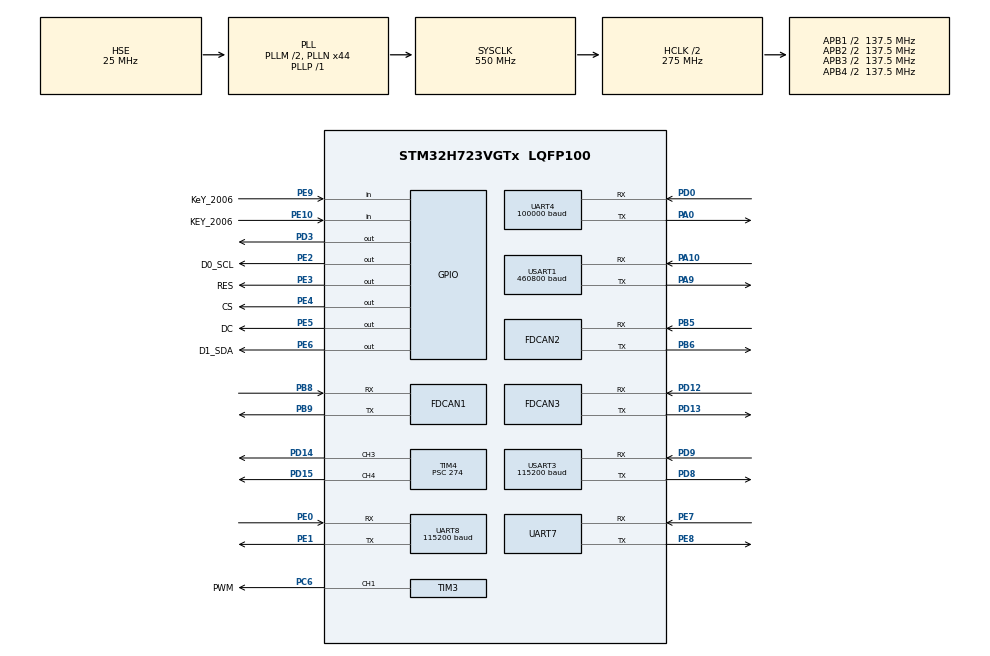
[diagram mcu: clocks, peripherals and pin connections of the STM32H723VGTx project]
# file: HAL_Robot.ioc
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Dma.Request0=USART1_RX
Dma.Request1=USART1_TX
Dma.Request10=USART3_TX
Dma.Request2=TIM3_CH1
Dma.Request3=UART4_RX
Dma.Request4=UART4_TX
Dma.Request5=UART7_RX
Dma.Request6=UART7_TX
Dma.Request7=UART8_RX
Dma.Request8=UART8_TX
Dma.Request9=USART3_RX
Dma.TIM3_CH1.2.Direction=DMA_MEMORY_TO_PERIPH
Dma.TIM3_CH1.2.EventEnable=DISABLE
Dma.TIM3_CH1.2.FIFOMode=DMA_FIFOMODE_DISABLE
Dma.TIM3_CH1.2.Instance=DMA1_Stream6
Dma.TIM3_CH1.2.MemDataAlignment=DMA_MDATAALIGN_HALFWORD
Dma.TIM3_CH1.2.MemInc=DMA_MINC_ENABLE
Dma.TIM3_CH1.2.Mode=DMA_NORMAL
Dma.TIM3_CH1.2.PeriphDataAlignment=DMA_PDATAALIGN_HALFWORD
Dma.TIM3_CH1.2.PeriphInc=DMA_PINC_DISABLE
Dma.TIM3_CH1.2.Polarity=HAL_DMAMUX_REQ_GEN_RISING
Dma.TIM3_CH1.2.Priority=DMA_PRIORITY_VERY_HIGH
Dma.TIM3_CH1.2.RequestNumber=1
Dma.TIM3_CH1.2.SignalID=NONE
Dma.TIM3_CH1.2.SyncEnable=DISABLE
Dma.TIM3_CH1.2.SyncPolarity=HAL_DMAMUX_SYNC_NO_EVENT
Dma.TIM3_CH1.2.SyncRequestNumber=1
Dma.TIM3_CH1.2.SyncSignalID=NONE
Dma.UART4_RX.3.Direction=DMA_PERIPH_TO_MEMORY
Dma.UART4_RX.3.EventEnable=DISABLE
Dma.UART4_RX.3.FIFOMode=DMA_FIFOMODE_DISABLE
Dma.UART4_RX.3.Instance=DMA1_Stream2
Dma.UART4_RX.3.MemDataAlignment=DMA_MDATAALIGN_BYTE
Dma.UART4_RX.3.MemInc=DMA_MINC_ENABLE
Dma.UART4_RX.3.Mode=DMA_CIRCULAR
Dma.UART4_RX.3.PeriphDataAlignment=DMA_PDATAALIGN_BYTE
Dma.UART4_RX.3.PeriphInc=DMA_PINC_DISABLE
Dma.UART4_RX.3.Polarity=HAL_DMAMUX_REQ_GEN_RISING
Dma.UART4_RX.3.Priority=DMA_PRIORITY_VERY_HIGH
Dma.UART4_RX.3.RequestNumber=1
Dma.UART4_RX.3.SignalID=NONE
Dma.UART4_RX.3.SyncEnable=DISABLE
Dma.UART4_RX.3.SyncPolarity=HAL_DMAMUX_SYNC_NO_EVENT
Dma.UART4_RX.3.SyncRequestNumber=1
Dma.UART4_RX.3.SyncSignalID=NONE
Dma.UART4_TX.4.Direction=DMA_MEMORY_TO_PERIPH
Dma.UART4_TX.4.EventEnable=DISABLE
Dma.UART4_TX.4.FIFOMode=DMA_FIFOMODE_DISABLE
Dma.UART4_TX.4.Instance=DMA1_Stream3
Dma.UART4_TX.4.MemDataAlignment=DMA_MDATAALIGN_BYTE
Dma.UART4_TX.4.MemInc=DMA_MINC_ENABLE
Dma.UART4_TX.4.Mode=DMA_NORMAL
Dma.UART4_TX.4.PeriphDataAlignment=DMA_PDATAALIGN_BYTE
Dma.UART4_TX.4.PeriphInc=DMA_PINC_DISABLE
Dma.UART4_TX.4.Polarity=HAL_DMAMUX_REQ_GEN_RISING
Dma.UART4_TX.4.Priority=DMA_PRIORITY_VERY_HIGH
Dma.UART4_TX.4.RequestNumber=1
Dma.UART4_TX.4.SignalID=NONE
Dma.UART4_TX.4.SyncEnable=DISABLE
Dma.UART4_TX.4.SyncPolarity=HAL_DMAMUX_SYNC_NO_EVENT
Dma.UART4_TX.4.SyncRequestNumber=1
Dma.UART4_TX.4.SyncSignalID=NONE
Dma.UART7_RX.5.Direction=DMA_PERIPH_TO_MEMORY
Dma.UART7_RX.5.EventEnable=DISABLE
Dma.UART7_RX.5.FIFOMode=DMA_FIFOMODE_DISABLE
Dma.UART7_RX.5.Instance=DMA1_Stream4
Dma.UART7_RX.5.MemDataAlignment=DMA_MDATAALIGN_BYTE
Dma.UART7_RX.5.MemInc=DMA_MINC_ENABLE
Dma.UART7_RX.5.Mode=DMA_CIRCULAR
Dma.UART7_RX.5.PeriphDataAlignment=DMA_PDATAALIGN_BYTE
Dma.UART7_RX.5.PeriphInc=DMA_PINC_DISABLE
Dma.UART7_RX.5.Polarity=HAL_DMAMUX_REQ_GEN_RISING
Dma.UART7_RX.5.Priority=DMA_PRIORITY_VERY_HIGH
Dma.UART7_RX.5.RequestNumber=1
Dma.UART7_RX.5.SignalID=NONE
Dma.UART7_RX.5.SyncEnable=DISABLE
Dma.UART7_RX.5.SyncPolarity=HAL_DMAMUX_SYNC_NO_EVENT
Dma.UART7_RX.5.SyncRequestNumber=1
Dma.UART7_RX.5.SyncSignalID=NONE
Dma.UART7_TX.6.Direction=DMA_MEMORY_TO_PERIPH
Dma.UART7_TX.6.EventEnable=DISABLE
Dma.UART7_TX.6.FIFOMode=DMA_FIFOMODE_DISABLE
Dma.UART7_TX.6.Instance=DMA1_Stream5
Dma.UART7_TX.6.MemDataAlignment=DMA_MDATAALIGN_BYTE
Dma.UART7_TX.6.MemInc=DMA_MINC_ENABLE
Dma.UART7_TX.6.Mode=DMA_NORMAL
Dma.UART7_TX.6.PeriphDataAlignment=DMA_PDATAALIGN_BYTE
Dma.UART7_TX.6.PeriphInc=DMA_PINC_DISABLE
Dma.UART7_TX.6.Polarity=HAL_DMAMUX_REQ_GEN_RISING
Dma.UART7_TX.6.Priority=DMA_PRIORITY_VERY_HIGH
Dma.UART7_TX.6.RequestNumber=1
Dma.UART7_TX.6.SignalID=NONE
Dma.UART7_TX.6.SyncEnable=DISABLE
Dma.UART7_TX.6.SyncPolarity=HAL_DMAMUX_SYNC_NO_EVENT
Dma.UART7_TX.6.SyncRequestNumber=1
Dma.UART7_TX.6.SyncSignalID=NONE
Dma.UART8_RX.7.Direction=DMA_PERIPH_TO_MEMORY
Dma.UART8_RX.7.EventEnable=DISABLE
Dma.UART8_RX.7.FIFOMode=DMA_FIFOMODE_DISABLE
Dma.UART8_RX.7.Instance=DMA1_Stream7
Dma.UART8_RX.7.MemDataAlignment=DMA_MDATAALIGN_BYTE
Dma.UART8_RX.7.MemInc=DMA_MINC_ENABLE
Dma.UART8_RX.7.Mode=DMA_CIRCULAR
Dma.UART8_RX.7.PeriphDataAlignment=DMA_PDATAALIGN_BYTE
Dma.UART8_RX.7.PeriphInc=DMA_PINC_DISABLE
Dma.UART8_RX.7.Polarity=HAL_DMAMUX_REQ_GEN_RISING
Dma.UART8_RX.7.Priority=DMA_PRIORITY_VERY_HIGH
Dma.UART8_RX.7.RequestNumber=1
Dma.UART8_RX.7.SignalID=NONE
Dma.UART8_RX.7.SyncEnable=DISABLE
Dma.UART8_RX.7.SyncPolarity=HAL_DMAMUX_SYNC_NO_EVENT
Dma.UART8_RX.7.SyncRequestNumber=1
Dma.UART8_RX.7.SyncSignalID=NONE
Dma.UART8_TX.8.Direction=DMA_MEMORY_TO_PERIPH
Dma.UART8_TX.8.EventEnable=DISABLE
Dma.UART8_TX.8.FIFOMode=DMA_FIFOMODE_DISABLE
Dma.UART8_TX.8.Instance=DMA2_Stream0
Dma.UART8_TX.8.MemDataAlignment=DMA_MDATAALIGN_BYTE
Dma.UART8_TX.8.MemInc=DMA_MINC_ENABLE
Dma.UART8_TX.8.Mode=DMA_NORMAL
Dma.UART8_TX.8.PeriphDataAlignment=DMA_PDATAALIGN_BYTE
Dma.UART8_TX.8.PeriphInc=DMA_PINC_DISABLE
Dma.UART8_TX.8.Polarity=HAL_DMAMUX_REQ_GEN_RISING
Dma.UART8_TX.8.Priority=DMA_PRIORITY_VERY_HIGH
Dma.UART8_TX.8.RequestNumber=1
Dma.UART8_TX.8.SignalID=NONE
Dma.UART8_TX.8.SyncEnable=DISABLE
Dma.UART8_TX.8.SyncPolarity=HAL_DMAMUX_SYNC_NO_EVENT
Dma.UART8_TX.8.SyncRequestNumber=1
Dma.UART8_TX.8.SyncSignalID=NONE
Dma.USART1_RX.0.Direction=DMA_PERIPH_TO_MEMORY
Dma.USART1_RX.0.EventEnable=DISABLE
Dma.USART1_RX.0.FIFOMode=DMA_FIFOMODE_DISABLE
Dma.USART1_RX.0.Instance=DMA1_Stream0
Dma.USART1_RX.0.MemDataAlignment=DMA_MDATAALIGN_BYTE
Dma.USART1_RX.0.MemInc=DMA_MINC_ENABLE
Dma.USART1_RX.0.Mode=DMA_CIRCULAR
Dma.USART1_RX.0.PeriphDataAlignment=DMA_PDATAALIGN_BYTE
Dma.USART1_RX.0.PeriphInc=DMA_PINC_DISABLE
Dma.USART1_RX.0.Polarity=HAL_DMAMUX_REQ_GEN_RISING
Dma.USART1_RX.0.Priority=DMA_PRIORITY_VERY_HIGH
Dma.USART1_RX.0.RequestNumber=1
Dma.USART1_RX.0.SignalID=NONE
Dma.USART1_RX.0.SyncEnable=DISABLE
Dma.USART1_RX.0.SyncPolarity=HAL_DMAMUX_SYNC_NO_EVENT
Dma.USART1_RX.0.SyncRequestNumber=1
Dma.USART1_RX.0.SyncSignalID=NONE
Dma.USART1_TX.1.Direction=DMA_MEMORY_TO_PERIPH
Dma.USART1_TX.1.EventEnable=DISABLE
Dma.USART1_TX.1.FIFOMode=DMA_FIFOMODE_DISABLE
Dma.USART1_TX.1.Instance=DMA1_Stream1
Dma.USART1_TX.1.MemDataAlignment=DMA_MDATAALIGN_BYTE
Dma.USART1_TX.1.MemInc=DMA_MINC_ENABLE
Dma.USART1_TX.1.Mode=DMA_NORMAL
Dma.USART1_TX.1.PeriphDataAlignment=DMA_PDATAALIGN_BYTE
Dma.USART1_TX.1.PeriphInc=DMA_PINC_DISABLE
Dma.USART1_TX.1.Polarity=HAL_DMAMUX_REQ_GEN_RISING
Dma.USART1_TX.1.Priority=DMA_PRIORITY_VERY_HIGH
Dma.USART1_TX.1.RequestNumber=1
Dma.USART1_TX.1.SignalID=NONE
Dma.USART1_TX.1.SyncEnable=DISABLE
Dma.USART1_TX.1.SyncPolarity=HAL_DMAMUX_SYNC_NO_EVENT
Dma.USART1_TX.1.SyncRequestNumber=1
Dma.USART1_TX.1.SyncSignalID=NONE
Dma.USART3_RX.9.Direction=DMA_PERIPH_TO_MEMORY
Dma.USART3_RX.9.EventEnable=DISABLE
Dma.USART3_RX.9.FIFOMode=DMA_FIFOMODE_DISABLE
Dma.USART3_RX.9.Instance=DMA2_Stream1
Dma.USART3_RX.9.MemDataAlignment=DMA_MDATAALIGN_BYTE
Dma.USART3_RX.9.MemInc=DMA_MINC_ENABLE
Dma.USART3_RX.9.Mode=DMA_CIRCULAR
Dma.USART3_RX.9.PeriphDataAlignment=DMA_PDATAALIGN_BYTE
Dma.USART3_RX.9.PeriphInc=DMA_PINC_DISABLE
Dma.USART3_RX.9.Polarity=HAL_DMAMUX_REQ_GEN_RISING
Dma.USART3_RX.9.Priority=DMA_PRIORITY_VERY_HIGH
Dma.USART3_RX.9.RequestNumber=1
Dma.USART3_RX.9.SignalID=NONE
Dma.USART3_RX.9.SyncEnable=DISABLE
Dma.USART3_RX.9.SyncPolarity=HAL_DMAMUX_SYNC_NO_EVENT
Dma.USART3_RX.9.SyncRequestNumber=1
Dma.USART3_RX.9.SyncSignalID=NONE
Dma.USART3_TX.10.Direction=DMA_MEMORY_TO_PERIPH
Dma.USART3_TX.10.EventEnable=DISABLE
Dma.USART3_TX.10.FIFOMode=DMA_FIFOMODE_DISABLE
Dma.USART3_TX.10.Instance=DMA2_Stream2
Dma.USART3_TX.10.MemDataAlignment=DMA_MDATAALIGN_BYTE
Dma.USART3_TX.10.MemInc=DMA_MINC_ENABLE
Dma.USART3_TX.10.Mode=DMA_NORMAL
Dma.USART3_TX.10.PeriphDataAlignment=DMA_PDATAALIGN_BYTE
Dma.USART3_TX.10.PeriphInc=DMA_PINC_DISABLE
Dma.USART3_TX.10.Polarity=HAL_DMAMUX_REQ_GEN_RISING
Dma.USART3_TX.10.Priority=DMA_PRIORITY_VERY_HIGH
Dma.USART3_TX.10.RequestNumber=1
Dma.USART3_TX.10.SignalID=NONE
Dma.USART3_TX.10.SyncEnable=DISABLE
Dma.USART3_TX.10.SyncPolarity=HAL_DMAMUX_SYNC_NO_EVENT
Dma.USART3_TX.10.SyncRequestNumber=1
Dma.USART3_TX.10.SyncSignalID=NONE
FDCAN1.CalculateBaudRateNominal=1000000
FDCAN1.CalculateTimeBitNominal=1000
FDCAN1.CalculateTimeQuantumNominal=100.0
FDCAN1.NominalPrescaler=10
FDCAN1.NominalTimeSeg1=7
FDCAN1.NominalTimeSeg2=2
FDCAN1.RxFifo0ElmtsNbr=16
FDCAN1.TxFifoQueueElmtsNbr=8
FDCAN2.CalculateBaudRateNominal=1000000
FDCAN2.CalculateTimeBitNominal=1000
FDCAN2.CalculateTimeQuantumNominal=100.0
FDCAN2.MessageRAMOffset=820
FDCAN2.NominalPrescaler=10
FDCAN2.NominalTimeSeg1=7
FDCAN2.NominalTimeSeg2=2
FDCAN2.RxFifo0ElmtsNbr=16
FDCAN2.TxFifoQueueElmtsNbr=8
FDCAN3.CalculateBaudRateNominal=1000000
FDCAN3.CalculateTimeBitNominal=1000
FDCAN3.CalculateTimeQuantumNominal=100.0
FDCAN3.MessageRAMOffset=1706
FDCAN3.NominalPrescaler=10
FDCAN3.NominalTimeSeg1=7
FDCAN3.NominalTimeSeg2=2
FDCAN3.RxFifo0ElmtsNbr=16
FDCAN3.TxFifoQueueElmtsNbr=8
FREERTOS.Tasks01=defaultTask,24,128,StartDefaultTask,Default,NULL,Dynamic,NULL,NULL;RTOSsystem_task,10,128,RTOSsystem_Task,As external,NULL,Dynamic,NULL,NULL;Gimbal_task256,13,256,Gimbal_Task,As external,NULL,Dynamic,NULL,NULL;Guard_task,14,256,Guard_Task,As external,NULL,Dynamic,NULL,NULL;Correspond_task,12,256,Correspond_Task,As external,NULL,Dynamic,NULL,NULL;Message_task,13,512,Message_Task,As external,NULL,Dynamic,NULL,NULL;CAN1_Rx_task,15,128,CAN1_Rx_Task,As external,NULL,Dynamic,NULL,NULL;CAN2_Rx_task,15,128,CAN2_Rx_Task,As external,NULL,Dynamic,NULL,NULL;Serial_Rx_task,15,128,Serial_Rx_Task,As external,NULL,Dynamic,NULL,NULL;DR16_Rx_task,15,128,DR16_Rx_Task,As external,NULL,Dynamic,NULL,NULL;CAN3_Rx_task,15,128,CAN3_Rx_Task,As external,NULL,Dynamic,NULL,NULL;Chassis_task,13,256,Chassis_Task,As external,NULL,Dynamic,NULL,NULL;UIDraw_task,11,512,UIDraw_Task,As external,NULL,Dynamic,NULL,NULL;Referee_Rx_task,15,128,Referee_Rx_Task,As external,NULL,Dynamic,NULL,NULL
Mcu.Family=STM32H7
Mcu.Name=STM32H723VGTx
Mcu.Package=LQFP100
NVIC.DMA1_Stream0_IRQn=true\:5\:0\:false\:false\:true\:false\:false\:true\:true
NVIC.DMA1_Stream1_IRQn=true\:5\:0\:false\:false\:true\:false\:false\:true\:true
NVIC.DMA1_Stream2_IRQn=true\:5\:0\:false\:false\:true\:true\:false\:true\:true
NVIC.DMA1_Stream3_IRQn=true\:5\:0\:false\:false\:true\:true\:false\:true\:true
NVIC.DMA1_Stream4_IRQn=true\:5\:0\:false\:false\:true\:true\:false\:true\:true
NVIC.DMA1_Stream5_IRQn=true\:5\:0\:false\:false\:true\:true\:false\:true\:true
NVIC.DMA1_Stream6_IRQn=true\:5\:0\:false\:false\:true\:true\:false\:true\:true
NVIC.DMA1_Stream7_IRQn=true\:5\:0\:false\:false\:true\:true\:false\:true\:true
NVIC.DMA2_Stream0_IRQn=true\:5\:0\:false\:false\:true\:true\:false\:true\:true
NVIC.DMA2_Stream1_IRQn=true\:5\:0\:false\:false\:true\:true\:false\:true\:true
NVIC.DMA2_Stream2_IRQn=true\:5\:0\:false\:false\:true\:true\:false\:true\:true
NVIC.FDCAN1_IT0_IRQn=true\:5\:0\:false\:false\:true\:true\:true\:true\:true
NVIC.FDCAN2_IT0_IRQn=true\:5\:0\:false\:false\:true\:true\:true\:true\:true
NVIC.FDCAN3_IT0_IRQn=true\:5\:0\:false\:false\:true\:true\:true\:true\:true
NVIC.PriorityGroup=NVIC_PRIORITYGROUP_4
NVIC.TIM1_UP_IRQn=true\:15\:0\:false\:false\:true\:false\:false\:true\:true
NVIC.TimeBase=TIM1_UP_IRQn
NVIC.TimeBaseIP=TIM1
NVIC.UART4_IRQn=true\:5\:0\:false\:false\:true\:true\:true\:true\:true
NVIC.UART7_IRQn=true\:5\:0\:true\:false\:true\:true\:true\:true\:true
NVIC.UART8_IRQn=true\:6\:0\:true\:false\:true\:true\:true\:true\:true
NVIC.USART1_IRQn=true\:9\:0\:true\:false\:true\:true\:true\:true\:true
NVIC.USART3_IRQn=true\:5\:0\:true\:false\:true\:true\:true\:true\:true
PA0.GPIO_Speed=GPIO_SPEED_FREQ_VERY_HIGH
PA0.Mode=Asynchronous
PA0.Signal=UART4_TX
PA10.GPIO_Speed=GPIO_SPEED_FREQ_VERY_HIGH
PA10.Mode=Asynchronous
PA10.Signal=USART1_RX
PA13(JTMS/SWDIO).Mode=Serial_Wire
PA13(JTMS/SWDIO).Signal=DEBUG_JTMS-SWDIO
PA14(JTCK/SWCLK).Mode=Serial_Wire
PA14(JTCK/SWCLK).Signal=DEBUG_JTCK-SWCLK
PA9.GPIO_Speed=GPIO_SPEED_FREQ_VERY_HIGH
PA9.Mode=Asynchronous
PA9.Signal=USART1_TX
PB5.GPIO_Speed=GPIO_SPEED_FREQ_VERY_HIGH
PB5.Mode=FDCAN_Activate
PB5.Signal=FDCAN2_RX
PB6.GPIO_Speed=GPIO_SPEED_FREQ_VERY_HIGH
PB6.Mode=FDCAN_Activate
PB6.Signal=FDCAN2_TX
PB8.GPIO_Speed=GPIO_SPEED_FREQ_VERY_HIGH
PB8.Mode=FDCAN_Activate
PB8.Signal=FDCAN1_RX
PB9.GPIO_Speed=GPIO_SPEED_FREQ_VERY_HIGH
PB9.Mode=FDCAN_Activate
PB9.Signal=FDCAN1_TX
PC6.GPIO_Label=PWM
PC6.GPIO_PuPd=GPIO_PULLUP
PC6.GPIO_Speed=GPIO_SPEED_FREQ_VERY_HIGH
PC6.Signal=S_TIM3_CH1
PC7.Signal=S_TIM3_CH2
PD0.GPIO_Speed=GPIO_SPEED_FREQ_VERY_HIGH
PD0.Mode=Asynchronous
PD0.Signal=UART4_RX
PD12.GPIO_Speed=GPIO_SPEED_FREQ_VERY_HIGH
PD12.Mode=FDCAN_Activate
PD12.Signal=FDCAN3_RX
PD13.GPIO_Speed=GPIO_SPEED_FREQ_VERY_HIGH
PD13.Mode=FDCAN_Activate
PD13.Signal=FDCAN3_TX
PD14.GPIO_ModeDefaultPP=GPIO_MODE_AF_PP
PD14.GPIO_PuPd=GPIO_NOPULL
PD14.GPIO_Speed=GPIO_SPEED_FREQ_HIGH
PD14.Signal=S_TIM4_CH3
PD15.Signal=S_TIM4_CH4
PD3.Signal=GPIO_Output
PD8.GPIO_Speed=GPIO_SPEED_FREQ_VERY_HIGH
PD8.Mode=Asynchronous
PD8.Signal=USART3_TX
PD9.GPIO_Speed=GPIO_SPEED_FREQ_VERY_HIGH
PD9.Mode=Asynchronous
PD9.Signal=USART3_RX
PE0.GPIO_Speed=GPIO_SPEED_FREQ_VERY_HIGH
PE0.Mode=Asynchronous
PE0.Signal=UART8_RX
PE1.GPIO_Speed=GPIO_SPEED_FREQ_VERY_HIGH
PE1.Mode=Asynchronous
PE1.Signal=UART8_TX
PE10.GPIO_Label=KEY_2006
PE10.GPIO_PuPd=GPIO_PULLUP
PE10.Signal=GPIO_Input
PE2.GPIO_Label=D0_SCL
PE2.Signal=GPIO_Output
PE3.GPIO_Label=RES
PE3.Signal=GPIO_Output
PE4.GPIO_Label=CS
PE4.Signal=GPIO_Output
PE5.GPIO_Label=DC
PE5.Signal=GPIO_Output
PE6.GPIO_Label=D1_SDA
PE6.Signal=GPIO_Output
PE7.GPIO_Speed=GPIO_SPEED_FREQ_VERY_HIGH
PE7.Mode=Asynchronous
PE7.Signal=UART7_RX
PE8.GPIO_Speed=GPIO_SPEED_FREQ_VERY_HIGH
PE8.Mode=Asynchronous
PE8.Signal=UART7_TX
PE9.GPIO_Label=KeY_2006
PE9.GPIO_PuPd=GPIO_PULLUP
PE9.Signal=GPIO_Input
PH0-OSC_IN.Mode=HSE-External-Oscillator
PH0-OSC_IN.Signal=RCC_OSC_IN
PH1-OSC_OUT.Mode=HSE-External-Oscillator
PH1-OSC_OUT.Signal=RCC_OSC_OUT
ProjectManager.HeapSize=0x1000
ProjectManager.StackSize=0x400
ProjectManager.TargetToolchain=MDK-ARM V5.32
RCC.ADCFreq_Value=150000000
RCC.APB1Freq_Value=137500000
RCC.APB2Freq_Value=137500000
RCC.APB3Freq_Value=137500000
RCC.APB4Freq_Value=137500000
RCC.CortexFreq_Value=550000000
RCC.D1PPRE=RCC_APB3_DIV2
RCC.D2PPRE1=RCC_APB1_DIV2
RCC.D2PPRE2=RCC_APB2_DIV2
RCC.D3PPRE=RCC_APB4_DIV2
RCC.DIVM1=2
RCC.DIVM2=5
RCC.DIVN1=44
RCC.DIVN2=60
RCC.DIVP1=1
RCC.DIVQ2=3
RCC.FDCANCLockSelection=RCC_FDCANCLKSOURCE_PLL2
RCC.HCLKFreq_Value=275000000
RCC.HPRE=RCC_HCLK_DIV2
RCC.HSE_VALUE=25000000
RCC.PLL2FRACN=0
RCC.PLL3FRACN=0
RCC.PLLFRACN=0
RCC.PLLSourceVirtual=RCC_PLLSOURCE_HSE
RCC.SYSCLKFreq_VALUE=550000000
RCC.SYSCLKSource=RCC_SYSCLKSOURCE_PLLCLK
RCC.USBFreq_Value=275000000
SH.S_TIM3_CH1.0=TIM3_CH1,PWM Generation1 CH1
SH.S_TIM3_CH2.0=TIM3_CH2
SH.S_TIM4_CH3.0=TIM4_CH3,PWM Generation3 CH3
SH.S_TIM4_CH4.0=TIM4_CH4,PWM Generation4 CH4
TIM2.Period=209
TIM2.Prescaler=0
TIM3.Channel-PWM\ Generation1\ CH1=TIM_CHANNEL_1
TIM3.Period=343
TIM3.Prescaler=0
TIM4.Channel-PWM\ Generation3\ CH3=TIM_CHANNEL_3
TIM4.Channel-PWM\ Generation4\ CH4=TIM_CHANNEL_4
TIM4.Period=20000-1
TIM4.Prescaler=274
UART4.BaudRate=100000
UART8.BaudRate=115200
USART1.BaudRate=460800
USART1.VirtualMode-Asynchronous=VM_ASYNC
USART3.BaudRate=115200
USART3.VirtualMode-Asynchronous=VM_ASYNC
VP_FREERTOS_VS_CMSIS_V2.Mode=CMSIS_V2
VP_SYS_VS_tim1.Mode=TIM1
VP_TIM2_VS_ClockSourceINT.Mode=Internal
VP_TIM3_VS_ClockSourceINT.Mode=Internal
VP_TIM4_VS_ClockSourceINT.Mode=Internal
board=custom

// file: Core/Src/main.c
/* USER CODE BEGIN Header */
/**
 ******************************************************************************
 * @file           : main.c
 * @brief          : Main program body
 ******************************************************************************
 * @attention
 *
 * Copyright (c) 2023 STMicroelectronics.
 * All rights reserved.
 *
 * This software is licensed under terms that can be found in the LICENSE file
 * in the root directory of this software component.
 * If no LICENSE file comes with this software, it is provided AS-IS.
 *
 ******************************************************************************
 */
/* USER CODE END Header */
#include "main.h"
#include "cmsis_os.h"
#include "dma.h"
#include "fdcan.h"
#include "tim.h"
#include "usart.h"
#include "gpio.h"

/* USER CODE BEGIN Includes */
#include "protocol_dbus.h"
#include "drivers_dma.h"
#include "bsp_dwt.h"
/* USER CODE END Includes */

/* USER CODE BEGIN PV */
extern void HAL_GPIO_EXTI_Callback(uint16_t GPIO_Pin);
/* USER CODE END PV */

void SystemClock_Config(void);
void PeriphCommonClock_Config(void);
void MX_FREERTOS_Init(void);
/* USER CODE BEGIN PFP */
extern void My_Ui_Init(void);
/* USER CODE END PFP */

/* USER CODE BEGIN 0 */

void SoftWareInit(void)
{
	HAL_TIM_PWM_Start(&htim4,TIM_CHANNEL_3); //PWM
	HAL_TIM_PWM_Start(&htim4,TIM_CHANNEL_4); //PWM

	HAL_GPIO_WritePin(GPIOD,GPIO_PIN_3,GPIO_PIN_SET);

}

/* USER CODE END 0 */

int main(void)
{

  /* MCU Configuration--------------------------------------------------------*/

  /* Reset of all peripherals, Initializes the Flash interface and the Systick. */
  HAL_Init();

  /* Configure the system clock */
  SystemClock_Config();

  /* Configure the peripherals common clocks */

  PeriphCommonClock_Config();

  /* Initialize all configured peripherals */
  MX_GPIO_Init();
  MX_DMA_Init();
  MX_USART1_UART_Init();
  MX_UART4_Init();
  MX_TIM2_Init();
  MX_FDCAN1_Init();
  MX_FDCAN2_Init();
  MX_FDCAN3_Init();
  MX_TIM3_Init();
  MX_UART7_Init();
  MX_UART8_Init();
  MX_USART3_UART_Init();
  MX_TIM4_Init();
  /* USER CODE BEGIN 2 */
	My_Ui_Init();

  SoftWareInit();
	DWT_Init(550);
  /* USER CODE END 2 */

  /* Init scheduler */
  osKernelInitialize();

  /* Call init function for freertos objects (in cmsis_os2.c) */
  MX_FREERTOS_Init();

  /* Start scheduler */
  osKernelStart();

  /* We should never get here as control is now taken by the scheduler */

  /* Infinite loop */
  while (1)
  {

  }
}

void SystemClock_Config(void)
{
  RCC_OscInitTypeDef RCC_OscInitStruct = {0};
  RCC_ClkInitTypeDef RCC_ClkInitStruct = {0};

  /** Supply configuration update enable
  */
  HAL_PWREx_ConfigSupply(PWR_LDO_SUPPLY);

  /** Configure the main internal regulator output voltage
  */
  __HAL_PWR_VOLTAGESCALING_CONFIG(PWR_REGULATOR_VOLTAGE_SCALE0);

  while(!__HAL_PWR_GET_FLAG(PWR_FLAG_VOSRDY)) {}

  /** Initializes the RCC Oscillators according to the specified parameters
  * in the RCC_OscInitTypeDef structure.
  */
  RCC_OscInitStruct.OscillatorType = RCC_OSCILLATORTYPE_HSE;
  RCC_OscInitStruct.HSEState = RCC_HSE_ON;
  RCC_OscInitStruct.PLL.PLLState = RCC_PLL_ON;
  RCC_OscInitStruct.PLL.PLLSource = RCC_PLLSOURCE_HSE;
  RCC_OscInitStruct.PLL.PLLM = 2;
  RCC_OscInitStruct.PLL.PLLN = 44;
  RCC_OscInitStruct.PLL.PLLP = 1;
  RCC_OscInitStruct.PLL.PLLQ = 2;
  RCC_OscInitStruct.PLL.PLLR = 2;
  RCC_OscInitStruct.PLL.PLLRGE = RCC_PLL1VCIRANGE_3;
  RCC_OscInitStruct.PLL.PLLVCOSEL = RCC_PLL1VCOWIDE;
  RCC_OscInitStruct.PLL.PLLFRACN = 0;
  if (HAL_RCC_OscConfig(&RCC_OscInitStruct) != HAL_OK)
  {
    Error_Handler();
  }

  /** Initializes the CPU, AHB and APB buses clocks
  */
  RCC_ClkInitStruct.ClockType = RCC_CLOCKTYPE_HCLK|RCC_CLOCKTYPE_SYSCLK
                              |RCC_CLOCKTYPE_PCLK1|RCC_CLOCKTYPE_PCLK2
                              |RCC_CLOCKTYPE_D3PCLK1|RCC_CLOCKTYPE_D1PCLK1;
  RCC_ClkInitStruct.SYSCLKSource = RCC_SYSCLKSOURCE_PLLCLK;
  RCC_ClkInitStruct.SYSCLKDivider = RCC_SYSCLK_DIV1;
  RCC_ClkInitStruct.AHBCLKDivider = RCC_HCLK_DIV2;
  RCC_ClkInitStruct.APB3CLKDivider = RCC_APB3_DIV2;
  RCC_ClkInitStruct.APB1CLKDivider = RCC_APB1_DIV2;
  RCC_ClkInitStruct.APB2CLKDivider = RCC_APB2_DIV2;
  RCC_ClkInitStruct.APB4CLKDivider = RCC_APB4_DIV2;

  if (HAL_RCC_ClockConfig(&RCC_ClkInitStruct, FLASH_LATENCY_3) != HAL_OK)
  {
    Error_Handler();
  }
}

void PeriphCommonClock_Config(void)
{
  RCC_PeriphCLKInitTypeDef PeriphClkInitStruct = {0};

  /** Initializes the peripherals clock
  */
  PeriphClkInitStruct.PeriphClockSelection = RCC_PERIPHCLK_FDCAN;
  PeriphClkInitStruct.PLL2.PLL2M = 5;
  PeriphClkInitStruct.PLL2.PLL2N = 60;
  PeriphClkInitStruct.PLL2.PLL2P = 2;
  PeriphClkInitStruct.PLL2.PLL2Q = 3;
  PeriphClkInitStruct.PLL2.PLL2R = 2;
  PeriphClkInitStruct.PLL2.PLL2RGE = RCC_PLL2VCIRANGE_2;
  PeriphClkInitStruct.PLL2.PLL2VCOSEL = RCC_PLL2VCOWIDE;
  PeriphClkInitStruct.PLL2.PLL2FRACN = 0;
  PeriphClkInitStruct.FdcanClockSelection = RCC_FDCANCLKSOURCE_PLL2;
  if (HAL_RCCEx_PeriphCLKConfig(&PeriphClkInitStruct) != HAL_OK)
  {
    Error_Handler();
  }
}

void HAL_TIM_PeriodElapsedCallback(TIM_HandleTypeDef *htim)
{
  if (htim->Instance == TIM1)
  {
    HAL_IncTick();
  }
}

void Error_Handler(void)
{
  __disable_irq();
  while (1)
  {
  }
}

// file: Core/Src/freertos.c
/* USER CODE BEGIN Header */
/**
  ******************************************************************************
  * File Name          : freertos.c
  * Description        : Code for freertos applications
  ******************************************************************************
  * @attention
  *
  * Copyright (c) 2023 STMicroelectronics.
  * All rights reserved.
  *
  * This software is licensed under terms that can be found in the LICENSE file
  * in the root directory of this software component.
  * If no LICENSE file comes with this software, it is provided AS-IS.
  *
  ******************************************************************************
  */
/* USER CODE END Header */

#include "FreeRTOS.h"
#include "task.h"
#include "main.h"
#include "cmsis_os.h"

/* USER CODE BEGIN Includes */
#include "queue.h"
#include "app_preference.h"
/* USER CODE END Includes */

/* Definitions for defaultTask */
osThreadId_t defaultTaskHandle;
const osThreadAttr_t defaultTask_attributes = {
  .name = "defaultTask",
  .stack_size = 128 * 4,
  .priority = (osPriority_t) osPriorityNormal,
};
/* Definitions for RTOSsystem_task */
osThreadId_t RTOSsystem_taskHandle;
const osThreadAttr_t RTOSsystem_task_attributes = {
  .name = "RTOSsystem_task",
  .stack_size = 128 * 4,
  .priority = (osPriority_t) osPriorityLow2,
};
/* Definitions for Gimbal_task256 */
osThreadId_t Gimbal_task256Handle;
const osThreadAttr_t Gimbal_task256_attributes = {
  .name = "Gimbal_task256",
  .stack_size = 256 * 4,
  .priority = (osPriority_t) osPriorityLow5,
};
/* Definitions for Guard_task */
osThreadId_t Guard_taskHandle;
const osThreadAttr_t Guard_task_attributes = {
  .name = "Guard_task",
  .stack_size = 256 * 4,
  .priority = (osPriority_t) osPriorityLow6,
};
/* Definitions for Correspond_task */
osThreadId_t Correspond_taskHandle;
const osThreadAttr_t Correspond_task_attributes = {
  .name = "Correspond_task",
  .stack_size = 256 * 4,
  .priority = (osPriority_t) osPriorityLow4,
};
/* Definitions for Message_task */
osThreadId_t Message_taskHandle;
const osThreadAttr_t Message_task_attributes = {
  .name = "Message_task",
  .stack_size = 512 * 4,
  .priority = (osPriority_t) osPriorityLow5,
};
/* Definitions for CAN1_Rx_task */
osThreadId_t CAN1_Rx_taskHandle;
const osThreadAttr_t CAN1_Rx_task_attributes = {
  .name = "CAN1_Rx_task",
  .stack_size = 128 * 4,
  .priority = (osPriority_t) osPriorityLow7,
};
/* Definitions for CAN2_Rx_task */
osThreadId_t CAN2_Rx_taskHandle;
const osThreadAttr_t CAN2_Rx_task_attributes = {
  .name = "CAN2_Rx_task",
  .stack_size = 128 * 4,
  .priority = (osPriority_t) osPriorityLow7,
};
/* Definitions for Serial_Rx_task */
osThreadId_t Serial_Rx_taskHandle;
const osThreadAttr_t Serial_Rx_task_attributes = {
  .name = "Serial_Rx_task",
  .stack_size = 128 * 4,
  .priority = (osPriority_t) osPriorityLow7,
};
/* Definitions for DR16_Rx_task */
osThreadId_t DR16_Rx_taskHandle;
const osThreadAttr_t DR16_Rx_task_attributes = {
  .name = "DR16_Rx_task",
  .stack_size = 128 * 4,
  .priority = (osPriority_t) osPriorityLow7,
};
/* Definitions for CAN3_Rx_task */
osThreadId_t CAN3_Rx_taskHandle;
const osThreadAttr_t CAN3_Rx_task_attributes = {
  .name = "CAN3_Rx_task",
  .stack_size = 128 * 4,
  .priority = (osPriority_t) osPriorityLow7,
};
/* Definitions for Chassis_task */
osThreadId_t Chassis_taskHandle;
const osThreadAttr_t Chassis_task_attributes = {
  .name = "Chassis_task",
  .stack_size = 256 * 4,
  .priority = (osPriority_t) osPriorityLow5,
};
/* Definitions for UIDraw_task */
osThreadId_t UIDraw_taskHandle;
const osThreadAttr_t UIDraw_task_attributes = {
  .name = "UIDraw_task",
  .stack_size = 512 * 4,
  .priority = (osPriority_t) osPriorityLow3,
};
/* Definitions for Referee_Rx_task */
osThreadId_t Referee_Rx_taskHandle;
const osThreadAttr_t Referee_Rx_task_attributes = {
  .name = "Referee_Rx_task",
  .stack_size = 128 * 4,
  .priority = (osPriority_t) osPriorityLow7,
};

/* USER CODE BEGIN FunctionPrototypes */
//��
QueueHandle_t Message_Queue;
QueueHandle_t CAN1_Rx_Queue;
QueueHandle_t CAN2_Rx_Queue;
QueueHandle_t CAN3_Rx_Queue;
QueueHandle_t Serial_Rx_Queue;
QueueHandle_t Referee_Rx_Queue;
QueueHandle_t DR16_Rx_Queue;
/* USER CODE END FunctionPrototypes */

void StartDefaultTask(void *argument);
extern void RTOSsystem_Task(void *argument);
extern void Gimbal_Task(void *argument);
extern void Guard_Task(void *argument);
extern void Correspond_Task(void *argument);
extern void Message_Task(void *argument);
extern void CAN1_Rx_Task(void *argument);
extern void CAN2_Rx_Task(void *argument);
extern void Serial_Rx_Task(void *argument);
extern void DR16_Rx_Task(void *argument);
extern void CAN3_Rx_Task(void *argument);
extern void Chassis_Task(void *argument);
extern void UIDraw_Task(void *argument);
extern void Referee_Rx_Task(void *argument);

void MX_FREERTOS_Init(void); /* (MISRA C 2004 rule 8.1) */

void MX_FREERTOS_Init(void) {

  /* USER CODE BEGIN RTOS_QUEUES */
  /* add queues, ... */
	Message_Queue = xQueueCreate(8, sizeof(ID_Data_t));
	CAN1_Rx_Queue = xQueueCreate(8, sizeof(ID_Data_t));
	CAN2_Rx_Queue = xQueueCreate(8, sizeof(ID_Data_t));
	CAN3_Rx_Queue = xQueueCreate(8, sizeof(ID_Data_t));
	Serial_Rx_Queue = xQueueCreate(4, sizeof(ID_Data_t));
	Referee_Rx_Queue = xQueueCreate(2, sizeof(ID_Data_t));
	DR16_Rx_Queue = xQueueCreate(2, sizeof(ID_Data_t));
  /* USER CODE END RTOS_QUEUES */

  /* Create the thread(s) */
  /* creation of defaultTask */
  defaultTaskHandle = osThreadNew(StartDefaultTask, NULL, &defaultTask_attributes);

  /* creation of RTOSsystem_task */
  RTOSsystem_taskHandle = osThreadNew(RTOSsystem_Task, NULL, &RTOSsystem_task_attributes);

  /* creation of Gimbal_task256 */
  Gimbal_task256Handle = osThreadNew(Gimbal_Task, NULL, &Gimbal_task256_attributes);

  /* creation of Guard_task */
  Guard_taskHandle = osThreadNew(Guard_Task, NULL, &Guard_task_attributes);

  /* creation of Correspond_task */
  Correspond_taskHandle = osThreadNew(Correspond_Task, NULL, &Correspond_task_attributes);

  /* creation of Message_task */
  Message_taskHandle = osThreadNew(Message_Task, NULL, &Message_task_attributes);

  /* creation of CAN1_Rx_task */
  CAN1_Rx_taskHandle = osThreadNew(CAN1_Rx_Task, NULL, &CAN1_Rx_task_attributes);

  /* creation of CAN2_Rx_task */
  CAN2_Rx_taskHandle = osThreadNew(CAN2_Rx_Task, NULL, &CAN2_Rx_task_attributes);

  /* creation of Serial_Rx_task */
  Serial_Rx_taskHandle = osThreadNew(Serial_Rx_Task, NULL, &Serial_Rx_task_attributes);

  /* creation of DR16_Rx_task */
  DR16_Rx_taskHandle = osThreadNew(DR16_Rx_Task, NULL, &DR16_Rx_task_attributes);

  /* creation of CAN3_Rx_task */
  CAN3_Rx_taskHandle = osThreadNew(CAN3_Rx_Task, NULL, &CAN3_Rx_task_attributes);

  /* creation of Chassis_task */
  Chassis_taskHandle = osThreadNew(Chassis_Task, NULL, &Chassis_task_attributes);

  /* creation of UIDraw_task */
  UIDraw_taskHandle = osThreadNew(UIDraw_Task, NULL, &UIDraw_task_attributes);

  /* creation of Referee_Rx_task */
  Referee_Rx_taskHandle = osThreadNew(Referee_Rx_Task, NULL, &Referee_Rx_task_attributes);

}

void StartDefaultTask(void *argument)
{
  for(;;)
  {
    osDelay(1);
  }
}
